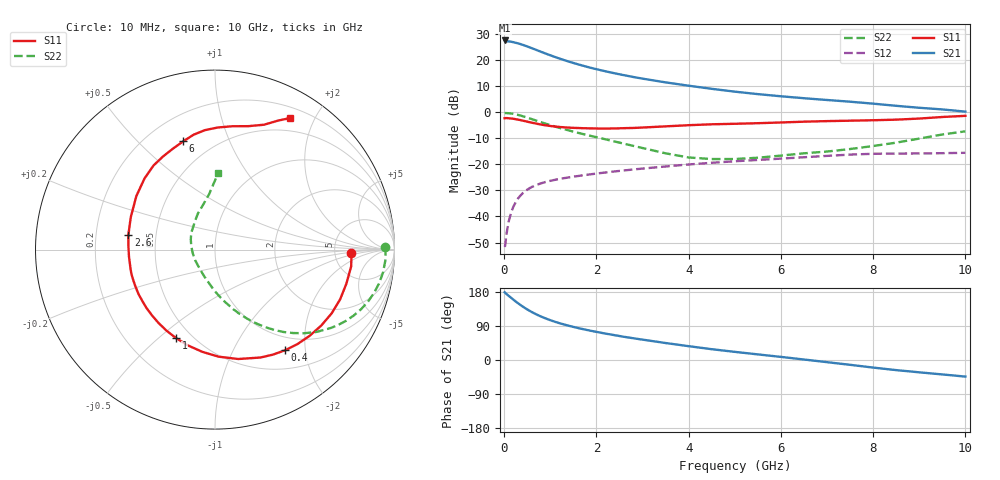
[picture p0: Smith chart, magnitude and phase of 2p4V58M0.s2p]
! (c) 2009  Infineon Technologies AG, Munich
! Infineon Technologies  Discrete & RF Semiconductors
! BFP420
! VCE =  4.5 V,  IC =  8.0 mA
! Common Emitter S-Parameters:  Nov 2009
# GHz  S  MA  R  50
!  f  S11  S21  S12  S22
! GHz  MAG  ANG  MAG  ANG  MAG  ANG  MAG  ANG
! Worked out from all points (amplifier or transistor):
!   46 points, 10 MHz to 10 GHz, reference 50 ohm
!   highest |S21| = 27.4 dB at 10 MHz (marker M1)
!   |S21| within 3 dB of that: start of sweep to 606.2 MHz
!   unconditionally stable (mu >= 1): start of sweep to 16.17 MHz; 2.578 GHz to end of sweep
!   at 300 MHz: K = 0.25, MSG = 29.7 dB, |S12| = -33.2 dB
!   at 1.7 GHz: K = 0.75, MSG = 21.0 dB, |S12| = -24.3 dB
!   at 10 GHz: K = 1.10, MAG = 6.0 dB, |S12| = -15.6 dB
!   lowest NFmin = 0.79 dB at 900 MHz
!   S11 on the Smith chart (normalised r, x): 10 MHz: 7.21, -0.67; 400 MHz: 0.78, -1.64; 1 GHz: 0.41, -0.57; 2.6 GHz: 0.34, +0.07; 6 GHz: 0.35, +0.69; 10 GHz: 0.33, +1.67
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0.01  0.7582 -1.5  23.34 178.7  0.0028 10.3  0.9474 0.9
0.02  0.7611 -2.8  22.64 177.4  0.0027 34.1  0.9507 -1.4
0.1  0.7562 -14.5  22.4 169.2  0.0081 67.5  0.945 -7.7
0.2  0.7406 -28.7  21.64 159.3  0.0154 68.4  0.9181 -15.3
0.3  0.7132 -42.4  20.56 149.9  0.022 65.0  0.8782 -22.3
0.4  0.6836 -55.1  19.28 141.3  0.0277 61.0  0.8302 -28.6
0.5  0.6526 -67.1  17.93 133.5  0.0326 57.2  0.7791 -34.1
0.6  0.6232 -78.0  16.61 126.5  0.0367 53.7  0.7287 -39.0
0.8  0.5737 -97.2  14.16 114.7  0.0431 48.6  0.6366 -46.9
1  0.5389 -113.7  12.15 105.1  0.0481 45.1  0.5594 -53.3
1.2  0.5158 -127.6  10.52 97.1  0.0522 42.5  0.4957 -58.6
1.3  0.5076 -133.7  9.832 93.7  0.0541 41.6  0.4688 -61.0
1.7  0.4888 -154.8  7.716 81.7  0.0611 38.7  0.3795 -69.5
2.2  0.4809 -175.5  5.989 69.6  0.0695 36.2  0.299 -78.9
2.6  0.4894 170.4  5.046 61.2  0.076 34.0  0.2467 -87.2
3.5  0.53 145.8  3.682 44.8  0.0905 29.3  0.1615 -111.5
4.5  0.5804 126.2  2.771 28.5  0.1065 22.8  0.1255 -152.1
5.5  0.6091 112.7  2.194 14.8  0.1207 16.4  0.133 172.5
6  0.629 106.3  1.995 8.2  0.1279 13.1  0.1461 157.4
7  0.6679 94.8  1.694 -5.7  0.1443 5.5  0.1746 134.3
8.5  0.7123 74.9  1.31 -26.7  0.1598 -9.5  0.2586 104.8
10  0.8423 60.4  1.014 -43.8  0.1652 -19.6  0.4255 87.6
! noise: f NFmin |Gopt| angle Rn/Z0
0.9  0.79  0.08  30  0.13
1.8  1.14  0.06  171  0.12
2.4  1.24  0.1  160  0.13
3  1.32  0.17  -165  0.12
4  1.46  0.32  -132  0.14
5  1.85  0.39  -110  0.25
6  2.3  0.46  -95  0.37
